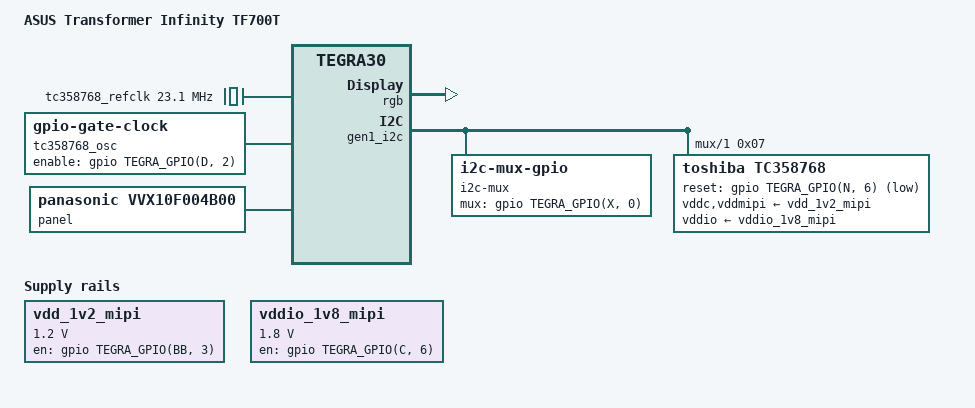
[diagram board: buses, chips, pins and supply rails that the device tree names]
// SPDX-License-Identifier: GPL-2.0
/dts-v1/;

#include "tegra30-asus-transformer.dtsi"

/ {
	model = "ASUS Transformer Infinity TF700T";
	compatible = "asus,tf700t", "nvidia,tegra30";

	host1x@50000000 {
		dc@54200000 {
			clocks = <&tegra_car TEGRA30_CLK_DISP1>,
				 <&tegra_car TEGRA30_CLK_PLL_D_OUT0>;

			rgb {
				status = "okay";

				nvidia,panel = <&tc358768>;
			};
		};
	};

	tc358768_refclk: clock-tc358768 {
		compatible = "fixed-clock";
		clock-frequency = <23100000>;
		clock-accuracy = <100>;
		#clock-cells = <0>;
	};

	tc358768_osc: clock-tc358768-osc-gate {
		compatible = "gpio-gate-clock";
		enable-gpios = <&gpio TEGRA_GPIO(D, 2) GPIO_ACTIVE_HIGH>;
		clocks = <&tc358768_refclk>;
		clock-names = "gate-clk";
		#clock-cells = <0>;
	};

	i2c-mux {
		compatible = "i2c-mux-gpio";

		mux-gpios = <&gpio TEGRA_GPIO(X, 0) GPIO_ACTIVE_HIGH>;
		i2c-parent = <&gen1_i2c>;
		idle-state = <0x0>;

		#address-cells = <1>;
		#size-cells = <0>;

		i2c@1 {
			reg = <1>;
			#address-cells = <1>;
			#size-cells = <0>;

			tc358768: dsi@7 {
				compatible = "toshiba,tc358768";
				reg = <0x7>;

				#address-cells = <1>;
				#size-cells = <0>;

				clocks = <&tc358768_osc>;
				clock-names = "refclk";

				reset-gpios = <&gpio TEGRA_GPIO(N, 6) GPIO_ACTIVE_LOW>;

				vddc-supply = <&vdd_1v2_mipi>;
				vddio-supply = <&vddio_1v8_mipi>;
				vddmipi-supply = <&vdd_1v2_mipi>;

				panel = <&panel>;
			};
		};
	};

	panel {
		compatible = "panasonic,vvx10f004b00";

		/delete-property/ enable-gpios;

		display-timings {
			timing@0 {
				/* 1920x1200@60Hz */
				clock-frequency = <157200000>;

				hactive = <1920>;
				hfront-porch = <154>;
				// back porch and sync len may need a swap
				hback-porch = <16>;
				hsync-len = <32>;

				vactive = <1200>;
				vfront-porch = <2>;
				// back porch and sync len may need a swap
				vback-porch = <16>;
				vsync-len = <17>;
			};
		};
	};

	vdd_1v2_mipi: regulator-mipivdd {
		compatible = "regulator-fixed";
		regulator-name = "tc358768_1v2_vdd";
		regulator-min-microvolt = <1200000>;
		regulator-max-microvolt = <1200000>;
		regulator-boot-on;
		gpio = <&gpio TEGRA_GPIO(BB, 3) GPIO_ACTIVE_HIGH>;
		enable-active-high;
	};

	vddio_1v8_mipi: regulator-mipivio {
		compatible = "regulator-fixed";
		regulator-name = "tc358768_1v8_vddio";
		regulator-min-microvolt = <1800000>;
		regulator-max-microvolt = <1800000>;
		regulator-boot-on;
		gpio = <&gpio TEGRA_GPIO(C, 6) GPIO_ACTIVE_HIGH>;
		enable-active-high;
	};
};
